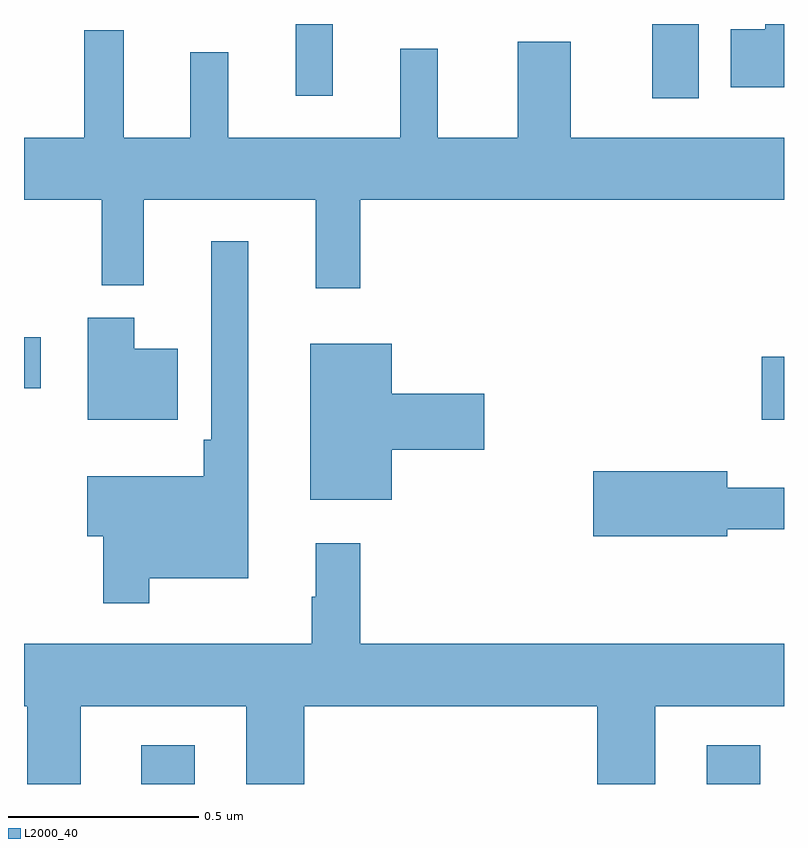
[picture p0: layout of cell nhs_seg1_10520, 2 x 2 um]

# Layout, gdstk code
import gdstk
lib = gdstk.Library(unit=1e-6, precision=1e-09)
def R(c, l, rs):  # rectangles x0, y0, x1, y1
    for r in rs: c.add(gdstk.rectangle(r[:2], r[2:], *l))
def P(c, l, *ps):  # polygons
    for p in ps: c.add(gdstk.Polygon(p, *l))
L2000_40 = (2000, 40)

nhs_seg1_10520 = lib.new_cell('nhs_seg1_10520')
R(nhs_seg1_10520, L2000_40, [(242.309,546.199,242.449,546.301), (243.797,546.199,243.937,546.301), (243.942,547.157,244,547.323), (242,547.241,242.044,547.375), (243.653,548.004,243.775,548.199), (242.715,548.01,242.812,548.199)])
P(nhs_seg1_10520, L2000_40, [(244,548.199),(243.95,548.199),(243.95,548.185),(243.86,548.185),(243.86,548.033),(244,548.033)],
  [(244,547.9),(243.439,547.9),(243.439,548.152),(243.299,548.152),(243.299,547.9),(243.089,547.9),(243.089,548.134),(242.99,548.134),(242.99,547.9),(242.537,547.9),(242.537,548.125),(242.438,548.125),(242.438,547.9),(242.263,547.9),(242.263,548.182),(242.159,548.182),(242.159,547.9),(242,547.9),(242,547.736),(242.205,547.736),(242.205,547.511),(242.315,547.511),(242.315,547.736),(242.768,547.736),(242.768,547.503),(242.885,547.503),(242.885,547.736),(244,547.736)],
  [(242.329,546.74),(242.59,546.74),(242.59,547.627),(242.493,547.627),(242.493,547.105),(242.473,547.105),(242.473,547.009),(242.166,547.009),(242.166,546.851),(242.208,546.851),(242.208,546.675),(242.329,546.675)],
  [(242.404,547.345),(242.29,547.345),(242.29,547.426),(242.168,547.426),(242.168,547.157),(242.404,547.157)],
  [(242.968,547.079),(243.211,547.079),(243.211,547.226),(242.968,547.226),(242.968,547.357),(242.753,547.357),(242.753,546.947),(242.968,546.947)],
  [(243.85,546.87),(244,546.87),(244,546.979),(243.85,546.979),(243.85,547.022),(243.498,547.022),(243.498,546.851),(243.85,546.851)],
  [(242.149,546.404),(242.585,546.404),(242.585,546.199),(242.738,546.199),(242.738,546.404),(243.509,546.404),(243.509,546.199),(243.661,546.199),(243.661,546.404),(244,546.404),(244,546.568),(242.885,546.568),(242.885,546.832),(242.768,546.832),(242.768,546.692),(242.757,546.692),(242.757,546.568),(242,546.568),(242,546.404),(242.009,546.404),(242.009,546.199),(242.149,546.199)])

lib.write_gds('nhs_seg1_10520.gds')
